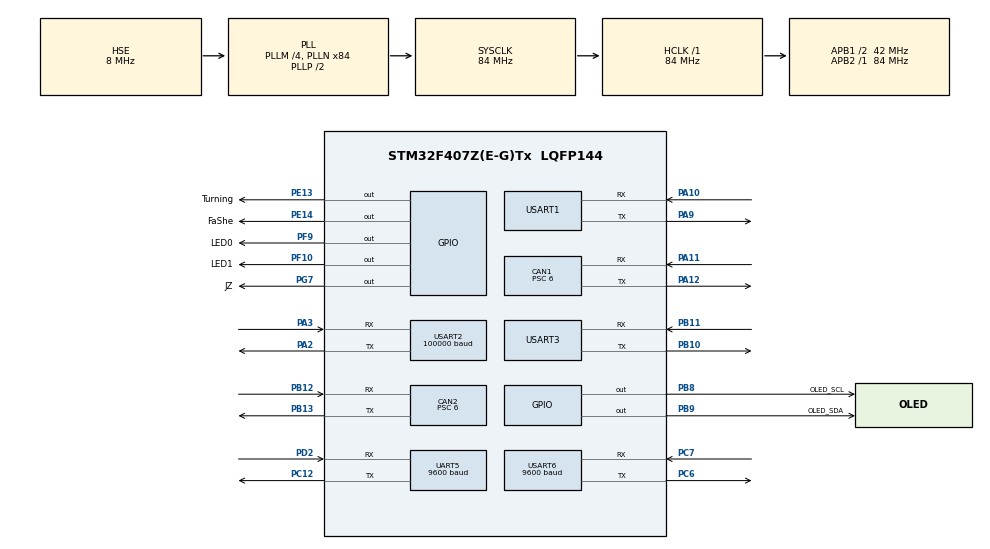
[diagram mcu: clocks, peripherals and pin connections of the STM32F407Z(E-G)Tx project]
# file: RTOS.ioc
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CAN1.ABOM=ENABLE
CAN1.BS1=CAN_BS1_2TQ
CAN1.BS2=CAN_BS2_4TQ
CAN1.CalculateBaudRate=1000000
CAN1.CalculateTimeBit=1000
CAN1.CalculateTimeQuantum=142.85714285714286
CAN1.Prescaler=6
CAN2.ABOM=ENABLE
CAN2.BS1=CAN_BS1_2TQ
CAN2.BS2=CAN_BS2_4TQ
CAN2.CalculateBaudRate=1000000
CAN2.CalculateTimeBit=1000
CAN2.CalculateTimeQuantum=142.85714285714286
CAN2.Prescaler=6
Dma.Request0=USART2_RX
Dma.Request1=USART3_RX
Dma.Request2=USART6_RX
Dma.Request3=UART5_RX
Dma.UART5_RX.3.Direction=DMA_PERIPH_TO_MEMORY
Dma.UART5_RX.3.FIFOMode=DMA_FIFOMODE_DISABLE
Dma.UART5_RX.3.Instance=DMA1_Stream0
Dma.UART5_RX.3.MemDataAlignment=DMA_MDATAALIGN_BYTE
Dma.UART5_RX.3.MemInc=DMA_MINC_ENABLE
Dma.UART5_RX.3.Mode=DMA_NORMAL
Dma.UART5_RX.3.PeriphDataAlignment=DMA_PDATAALIGN_BYTE
Dma.UART5_RX.3.PeriphInc=DMA_PINC_DISABLE
Dma.UART5_RX.3.Priority=DMA_PRIORITY_MEDIUM
Dma.USART2_RX.0.Direction=DMA_PERIPH_TO_MEMORY
Dma.USART2_RX.0.FIFOMode=DMA_FIFOMODE_DISABLE
Dma.USART2_RX.0.Instance=DMA1_Stream5
Dma.USART2_RX.0.MemDataAlignment=DMA_MDATAALIGN_BYTE
Dma.USART2_RX.0.MemInc=DMA_MINC_ENABLE
Dma.USART2_RX.0.Mode=DMA_NORMAL
Dma.USART2_RX.0.PeriphDataAlignment=DMA_PDATAALIGN_BYTE
Dma.USART2_RX.0.PeriphInc=DMA_PINC_DISABLE
Dma.USART2_RX.0.Priority=DMA_PRIORITY_VERY_HIGH
Dma.USART3_RX.1.Direction=DMA_PERIPH_TO_MEMORY
Dma.USART3_RX.1.FIFOMode=DMA_FIFOMODE_DISABLE
Dma.USART3_RX.1.Instance=DMA1_Stream1
Dma.USART3_RX.1.MemDataAlignment=DMA_MDATAALIGN_BYTE
Dma.USART3_RX.1.MemInc=DMA_MINC_ENABLE
Dma.USART3_RX.1.Mode=DMA_NORMAL
Dma.USART3_RX.1.PeriphDataAlignment=DMA_PDATAALIGN_BYTE
Dma.USART3_RX.1.PeriphInc=DMA_PINC_DISABLE
Dma.USART3_RX.1.Priority=DMA_PRIORITY_MEDIUM
Dma.USART6_RX.2.Direction=DMA_PERIPH_TO_MEMORY
Dma.USART6_RX.2.FIFOMode=DMA_FIFOMODE_DISABLE
Dma.USART6_RX.2.Instance=DMA2_Stream1
Dma.USART6_RX.2.MemDataAlignment=DMA_MDATAALIGN_BYTE
Dma.USART6_RX.2.MemInc=DMA_MINC_ENABLE
Dma.USART6_RX.2.Mode=DMA_NORMAL
Dma.USART6_RX.2.PeriphDataAlignment=DMA_PDATAALIGN_BYTE
Dma.USART6_RX.2.PeriphInc=DMA_PINC_DISABLE
Dma.USART6_RX.2.Priority=DMA_PRIORITY_MEDIUM
FREERTOS.Tasks01=POS,24,128,Pos_move,Default,NULL,Dynamic,NULL,NULL;KEY,8,128,KEY_CHeck,Default,NULL,Dynamic,NULL,NULL;OLED,8,128,OLED_show,Default,NULL,Dynamic,NULL,NULL;Clamp,8,128,ClampTheBall,Default,NULL,Dynamic,NULL,NULL
Mcu.Family=STM32F4
Mcu.Name=STM32F407Z(E-G)Tx
Mcu.Package=LQFP144
NVIC.CAN1_RX0_IRQn=true\:1\:0\:true\:false\:true\:false\:true\:true\:true
NVIC.CAN2_RX0_IRQn=true\:1\:0\:true\:false\:true\:false\:true\:true\:true
NVIC.DMA1_Stream0_IRQn=true\:5\:0\:false\:false\:true\:false\:false\:true\:true
NVIC.DMA1_Stream1_IRQn=true\:5\:0\:false\:false\:true\:false\:false\:true\:true
NVIC.DMA1_Stream5_IRQn=true\:5\:0\:false\:false\:true\:false\:false\:true\:true
NVIC.DMA2_Stream1_IRQn=true\:5\:0\:false\:false\:true\:false\:false\:true\:true
NVIC.PriorityGroup=NVIC_PRIORITYGROUP_4
NVIC.TIM1_BRK_TIM9_IRQn=true\:0\:0\:true\:false\:true\:false\:true\:true\:true
NVIC.TIM1_UP_TIM10_IRQn=true\:15\:0\:false\:false\:true\:false\:false\:true\:true
NVIC.TimeBase=TIM1_UP_TIM10_IRQn
NVIC.TimeBaseIP=TIM1
NVIC.UART5_IRQn=true\:2\:0\:true\:false\:true\:false\:true\:true\:true
NVIC.USART2_IRQn=true\:1\:0\:true\:false\:true\:false\:true\:true\:true
NVIC.USART3_IRQn=true\:1\:0\:true\:false\:true\:false\:true\:true\:true
NVIC.USART6_IRQn=true\:2\:0\:true\:false\:true\:false\:true\:true\:true
PA10.Mode=Asynchronous
PA10.Signal=USART1_RX
PA11.Mode=CAN_Activate
PA11.Signal=CAN1_RX
PA12.Mode=CAN_Activate
PA12.Signal=CAN1_TX
PA13.Mode=Serial_Wire
PA13.Signal=SYS_JTMS-SWDIO
PA14.Mode=Serial_Wire
PA14.Signal=SYS_JTCK-SWCLK
PA2.Mode=Asynchronous
PA2.Signal=USART2_TX
PA3.Mode=Asynchronous
PA3.Signal=USART2_RX
PA9.Mode=Asynchronous
PA9.Signal=USART1_TX
PB10.Mode=Asynchronous
PB10.Signal=USART3_TX
PB11.Mode=Asynchronous
PB11.Signal=USART3_RX
PB12.Mode=CAN_Activate
PB12.Signal=CAN2_RX
PB13.Mode=CAN_Activate
PB13.Signal=CAN2_TX
PB8.GPIO_Label=OLED_SCL
PB8.Signal=GPIO_Output
PB9.GPIO_Label=OLED_SDA
PB9.Signal=GPIO_Output
PC12.Mode=Asynchronous
PC12.Signal=UART5_TX
PC6.Mode=Asynchronous
PC6.Signal=USART6_TX
PC7.Mode=Asynchronous
PC7.Signal=USART6_RX
PD2.Mode=Asynchronous
PD2.Signal=UART5_RX
PE13.GPIO_Label=Turning
PE13.Signal=GPIO_Output
PE14.GPIO_Label=FaShe
PE14.Signal=GPIO_Output
PF10.GPIO_Label=LED1
PF10.Signal=GPIO_Output
PF9.GPIO_Label=LED0
PF9.Signal=GPIO_Output
PG7.GPIO_Label=JZ
PG7.Signal=GPIO_Output
PH0-OSC_IN.Mode=HSE-External-Oscillator
PH0-OSC_IN.Signal=RCC_OSC_IN
PH1-OSC_OUT.Mode=HSE-External-Oscillator
PH1-OSC_OUT.Signal=RCC_OSC_OUT
ProjectManager.HeapSize=0x200
ProjectManager.StackSize=0x400
ProjectManager.TargetToolchain=MDK-ARM V5.32
RCC.48MHZClocksFreq_Value=42000000
RCC.AHBFreq_Value=84000000
RCC.APB1CLKDivider=RCC_HCLK_DIV2
RCC.APB1Freq_Value=42000000
RCC.APB1TimFreq_Value=84000000
RCC.APB2Freq_Value=84000000
RCC.APB2TimFreq_Value=84000000
RCC.CortexFreq_Value=84000000
RCC.HCLKFreq_Value=84000000
RCC.HSE_VALUE=8000000
RCC.HSI_VALUE=16000000
RCC.LSE_VALUE=32768
RCC.PLLM=4
RCC.PLLN=84
RCC.PLLSourceVirtual=RCC_PLLSOURCE_HSE
RCC.SYSCLKFreq_VALUE=84000000
RCC.SYSCLKSource=RCC_SYSCLKSOURCE_PLLCLK
RCC.VCOOutputFreq_Value=168000000
TIM9.Period=5000-1
TIM9.Prescaler=84-1
UART5.BaudRate=9600
UART5.VirtualMode=Asynchronous
USART1.VirtualMode=VM_ASYNC
USART2.BaudRate=100000
USART2.Parity=PARITY_EVEN
USART2.StopBits=STOPBITS_2
USART2.VirtualMode=VM_ASYNC
USART2.WordLength=WORDLENGTH_9B
USART3.VirtualMode=VM_ASYNC
USART6.BaudRate=9600
USART6.VirtualMode=VM_ASYNC
VP_FREERTOS_VS_CMSIS_V2.Mode=CMSIS_V2
VP_SYS_VS_tim1.Mode=TIM1
VP_TIM9_VS_ClockSourceINT.Mode=Internal
board=custom

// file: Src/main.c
/* USER CODE BEGIN Header */
/**
  ******************************************************************************
  * @file           : main.c
  * @brief          : Main program body
  ******************************************************************************
  * @attention
  *
  * <h2><center>&copy; Copyright (c) 2022 STMicroelectronics.
  * All rights reserved.</center></h2>
  *
  * This software component is licensed by ST under Ultimate Liberty license
  * SLA0044, the "License"; You may not use this file except in compliance with
  * the License. You may obtain a copy of the License at:
  *                             www.st.com/SLA0044
  *
  ******************************************************************************
  */
/* USER CODE END Header */
#include "main.h"
#include "cmsis_os.h"
#include "can.h"
#include "dma.h"
#include "tim.h"
#include "usart.h"
#include "gpio.h"

/* USER CODE BEGIN Includes */

#include "all.h"

/* USER CODE END Includes */

/* USER CODE BEGIN PM */
#define  Motor hcan1
#define  Launch hcan2
#define  SBUS_usart2 huart2
#define  action_usart3 huart3
#define  JGx_uart5 huart5
#define  JGy_usart6 huart6

u8 SBUS_rxbuff[sbus_data_length];//存放SBUS数据（DMA）
u8 action_rxbuff[action_data_length];//存放码盘数据（DMA）
u8 JG_X_rxbuff[JG_data_length];//存放激光数据（DMA）
u8 JG_Y_rxbuff[JG_data_length];//存放激光数据（DMA）

u32 JG_pos_x,JG_pos_y;//
char str[20]={0};//OLED显示数组

/* USER CODE END PM */

void SystemClock_Config(void);
void MX_FREERTOS_Init(void);

int main(void)
{

  /* MCU Configuration--------------------------------------------------------*/

  /* Reset of all peripherals, Initializes the Flash interface and the Systick. */
  HAL_Init();

  /* Configure the system clock */
  SystemClock_Config();

  /* Initialize all configured peripherals */
  MX_GPIO_Init();
  MX_USART1_UART_Init();
  MX_DMA_Init();
  MX_TIM9_Init();
  MX_USART2_UART_Init();
  MX_USART3_UART_Init();
  MX_USART6_UART_Init();
  MX_UART5_Init();
  MX_CAN1_Init();
  MX_CAN2_Init();
  /* USER CODE BEGIN 2 */
	OLED_Init();
	OLED_Clear();

	__HAL_UART_ENABLE_IT(&action_usart3,UART_IT_IDLE);//码盘接收开启 huart3
	HAL_UART_Receive_DMA(&action_usart3,action_rxbuff,action_data_length);

	__HAL_UART_ENABLE_IT(&JGx_uart5,UART_IT_IDLE);//激光_X接收开启 huart5
	HAL_UART_Receive_DMA(&JGx_uart5,JG_X_rxbuff,JG_data_length);

	__HAL_UART_ENABLE_IT(&JGy_usart6,UART_IT_IDLE);//激光_Y接收开启 huart6
	HAL_UART_Receive_DMA(&JGy_usart6,JG_Y_rxbuff,JG_data_length);

	__HAL_UART_ENABLE_IT(&SBUS_usart2,UART_IT_IDLE);//SBUS接收开启 huart2
	HAL_UART_Receive_DMA(&SBUS_usart2,SBUS_rxbuff,sbus_data_length);

	CAN_Filter_Config(&Motor,1);//CAN1底盘
	HAL_CAN_Start(&Motor);
	HAL_CAN_ActivateNotification(&Motor, CAN_IT_RX_FIFO0_MSG_PENDING);

	CAN_Filter_Config(&Launch,1);//CAN2发射
	HAL_CAN_Start(&Launch);
	HAL_CAN_ActivateNotification(&Launch, CAN_IT_RX_FIFO0_MSG_PENDING);

//////	JG_Command_SET(&huart5);
//////	JG_Command_SET(&huart6);

	ALL_PID_Init();
	LED0=1;
	LED1=1;
	HAL_TIM_Base_Start_IT(&htim9);//开启定时器中断

  /* USER CODE END 2 */

  /* Init scheduler */
  osKernelInitialize();  /* Call init function for freertos objects (in freertos.c) */
  MX_FREERTOS_Init();

  /* Start scheduler */
  osKernelStart();

  /* We should never get here as control is now taken by the scheduler */
  /* Infinite loop */
  while (1)
  {

  }
}

void SystemClock_Config(void)
{
  RCC_OscInitTypeDef RCC_OscInitStruct = {0};
  RCC_ClkInitTypeDef RCC_ClkInitStruct = {0};

  /** Configure the main internal regulator output voltage
  */
  __HAL_RCC_PWR_CLK_ENABLE();
  __HAL_PWR_VOLTAGESCALING_CONFIG(PWR_REGULATOR_VOLTAGE_SCALE1);

  /** Initializes the RCC Oscillators according to the specified parameters
  * in the RCC_OscInitTypeDef structure.
  */
  RCC_OscInitStruct.OscillatorType = RCC_OSCILLATORTYPE_HSE;
  RCC_OscInitStruct.HSEState = RCC_HSE_ON;
  RCC_OscInitStruct.PLL.PLLState = RCC_PLL_ON;
  RCC_OscInitStruct.PLL.PLLSource = RCC_PLLSOURCE_HSE;
  RCC_OscInitStruct.PLL.PLLM = 4;
  RCC_OscInitStruct.PLL.PLLN = 84;
  RCC_OscInitStruct.PLL.PLLP = RCC_PLLP_DIV2;
  RCC_OscInitStruct.PLL.PLLQ = 4;
  if (HAL_RCC_OscConfig(&RCC_OscInitStruct) != HAL_OK)
  {
    Error_Handler();
  }

  /** Initializes the CPU, AHB and APB buses clocks
  */
  RCC_ClkInitStruct.ClockType = RCC_CLOCKTYPE_HCLK|RCC_CLOCKTYPE_SYSCLK
                              |RCC_CLOCKTYPE_PCLK1|RCC_CLOCKTYPE_PCLK2;
  RCC_ClkInitStruct.SYSCLKSource = RCC_SYSCLKSOURCE_PLLCLK;
  RCC_ClkInitStruct.AHBCLKDivider = RCC_SYSCLK_DIV1;
  RCC_ClkInitStruct.APB1CLKDivider = RCC_HCLK_DIV2;
  RCC_ClkInitStruct.APB2CLKDivider = RCC_HCLK_DIV1;

  if (HAL_RCC_ClockConfig(&RCC_ClkInitStruct, FLASH_LATENCY_2) != HAL_OK)
  {
    Error_Handler();
  }
}

void HAL_TIM_PeriodElapsedCallback(TIM_HandleTypeDef *htim)
{
  if (htim->Instance == TIM1) {
    HAL_IncTick();
  }
  /* USER CODE BEGIN Callback 1 */
	if(htim == &htim9)
		{

			Speed_Update();

			HAL_TIM_Base_Start_IT(&htim9);//开启定时器中断
		}
  /* USER CODE END Callback 1 */
}

void Error_Handler(void)
{
  __disable_irq();
  while (1)
  {
  }
}

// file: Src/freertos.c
/* USER CODE BEGIN Header */
/**
  ******************************************************************************
  * File Name          : freertos.c
  * Description        : Code for freertos applications
  ******************************************************************************
  * @attention
  *
  * <h2><center>&copy; Copyright (c) 2022 STMicroelectronics.
  * All rights reserved.</center></h2>
  *
  * This software component is licensed by ST under Ultimate Liberty license
  * SLA0044, the "License"; You may not use this file except in compliance with
  * the License. You may obtain a copy of the License at:
  *                             www.st.com/SLA0044
  *
  ******************************************************************************
  */
/* USER CODE END Header */

#include "FreeRTOS.h"
#include "task.h"
#include "main.h"
#include "cmsis_os.h"

/* USER CODE BEGIN Includes */
#include "all.h"
#include "usart.h"
extern int ABS_angle;
extern bool MODE;
extern int initial_angle;
float Pos_1[2]={1661.61,1700};//位置一   取红球
float Pos_2[2]={1800.61,1700};//位置二   发射红球
float Pos_3[2]={-1841.61,1621.61};//位置二  取蓝1球

u8 key_val;
int speed;

/* USER CODE END Includes */

/* Definitions for POS */
osThreadId_t POSHandle;
const osThreadAttr_t POS_attributes = {
  .name = "POS",
  .stack_size = 128 * 4,
  .priority = (osPriority_t) osPriorityNormal,
};
/* Definitions for KEY */
osThreadId_t KEYHandle;
const osThreadAttr_t KEY_attributes = {
  .name = "KEY",
  .stack_size = 128 * 4,
  .priority = (osPriority_t) osPriorityLow,
};
/* Definitions for OLED */
osThreadId_t OLEDHandle;
const osThreadAttr_t OLED_attributes = {
  .name = "OLED",
  .stack_size = 128 * 4,
  .priority = (osPriority_t) osPriorityLow,
};
/* Definitions for Clamp */
osThreadId_t ClampHandle;
const osThreadAttr_t Clamp_attributes = {
  .name = "Clamp",
  .stack_size = 128 * 4,
  .priority = (osPriority_t) osPriorityLow,
};

void Pos_move(void *argument);
void KEY_CHeck(void *argument);
void OLED_show(void *argument);
void ClampTheBall(void *argument);

void MX_FREERTOS_Init(void); /* (MISRA C 2004 rule 8.1) */

void MX_FREERTOS_Init(void) {

  /* Create the thread(s) */
  /* creation of POS */
  POSHandle = osThreadNew(Pos_move, NULL, &POS_attributes);

  /* creation of KEY */
  KEYHandle = osThreadNew(KEY_CHeck, NULL, &KEY_attributes);

  /* creation of OLED */
  OLEDHandle = osThreadNew(OLED_show, NULL, &OLED_attributes);

  /* creation of Clamp */
  ClampHandle = osThreadNew(ClampTheBall, NULL, &Clamp_attributes);

  /* USER CODE BEGIN RTOS_EVENTS */
  /* add events, ... */
	vTaskSuspend(POSHandle);//挂起该任务
	vTaskSuspend(ClampHandle);//挂起该任务

  /* USER CODE END RTOS_EVENTS */

}

void Pos_move(void *argument)
{
  /* USER CODE BEGIN Pos_move */
  /* Infinite loop */
  for(;;)
  {
		LED1=0;
//		Goal_Angel = ANGEL_30;
//		launch_Exp1 = launch_Speed1;
//		launch_Exp2 = launch_Speed2;
		while(ABS(action_inf.angle_z-ANGEL_30)>1)printf("The angle in progress\r\n");
		while(ABS(launch_inf[0].speed)<launch_Speed1)printf("The launch_Exp1 is accelerating\r\n");
		while(ABS(launch_inf[4].speed)<launch_Speed2)printf("The launch_Exp2 is accelerating\r\n");
		HAL_Delay(500);
		FaShe = 1;
		HAL_Delay(500);HAL_Delay(500);
		launch_Exp1 = 0;
		launch_Exp2 = 0;
		FaShe = 0;
		Goal_Angel = ANGEL_90;
		Goal_pos_X = Pos_1[0];
		Goal_pos_Y = Pos_1[1];
;		while(ABS(action_inf.angle_z-ANGEL_90)>2)printf("The angle in progress. \r\n");
		while(ABS(action_inf.pos_x-Pos_1[0])>50)printf("The pos_x in progress. pos_x=%.2f\r\n",action_inf.pos_x);
		while(ABS(action_inf.pos_y-Pos_1[1])>50)printf("The pos_y in progress. pos_y=%.2f\r\n",action_inf.pos_y);
		JZ = 1;
		Goal_JZ = initial_angle;
		HAL_Delay(500);HAL_Delay(500);
		JZ = 0;
		HAL_Delay(500);HAL_Delay(500);
		Goal_JZ = initial_angle-500000;
		HAL_Delay(500);HAL_Delay(500);
		Turning = 1;
		HAL_Delay(500);HAL_Delay(500);HAL_Delay(500);
		JZ = 1;
		HAL_Delay(500);
		Turning = 0;
		JZ = 0;
		Goal_pos_X = Pos_2[0];
		launch_Exp1 = launch_Speed1;
		launch_Exp2 = launch_Speed2;
		while(ABS(action_inf.pos_x-Pos_2[0])>100)printf("The pos_x in progress. pos_x=%.2f\r\t",action_inf.pos_x);
		while(ABS(launch_inf[0].speed)<launch_Speed1)printf("The launch_Exp1 is accelerating\r\n");
		while(ABS(launch_inf[4].speed)<launch_Speed2)printf("The launch_Exp2 is accelerating\r\n");
		HAL_Delay(500);
		FaShe = 1;
		HAL_Delay(500);HAL_Delay(500);

		launch_Exp1 = 0;
		launch_Exp2 = 0;
		FaShe = 0;

		Goal_pos_Y = -300;
		while(ABS(action_inf.pos_y+300)>500)printf("The pos_y in progress. pos_y=%.2f\r\t",action_inf.pos_y+300);

		Goal_pos_X = Pos_3[0];
		while(ABS(action_inf.pos_x-Pos_3[0])>100)printf("The pos_x in progress. pos_x=%.2f\r\t",action_inf.pos_x);

		Goal_pos_Y = Pos_3[1];
		while(ABS(action_inf.pos_y-Pos_3[1])>100)printf("The pos_y in progress. pos_y=%.2f\r\t",action_inf.pos_y-Pos_3[1]);

		JZ = 1;
		Goal_JZ = initial_angle;
		HAL_Delay(500);HAL_Delay(500);
		JZ = 0;
		HAL_Delay(500);HAL_Delay(500);
		Goal_JZ = initial_angle-500000;
		HAL_Delay(500);HAL_Delay(500);
		Turning = 1;
		HAL_Delay(500);HAL_Delay(500);HAL_Delay(500);
		JZ = 1;
		HAL_Delay(500);
		Turning = 0;
		JZ = 0;

		Goal_Angel = 0;
		Goal_pos_X = 0;
		Goal_pos_Y = 0;

		osDelay(1);
		vTaskSuspend(POSHandle);

//		LED1=!LED1;

  }
  /* USER CODE END Pos_move */
}

void KEY_CHeck(void *argument)
{
  /* USER CODE BEGIN KEY_CHeck */
  /* Infinite loop */
  for(;;)
  {
		if(MODE==0)
		{
			key_val=Sbus_key(0);
			if(key_val==1)vTaskResume(POSHandle);
			else if(key_val==2)vTaskResume(ClampHandle);
			else{}
//			speed_sen/d_data(0,motor_inf[0].speed,Motor[0].Exp);
		}
    osDelay(1);
  }
  /* USER CODE END KEY_CHeck */
}

void OLED_show(void *argument)
{
  /* USER CODE BEGIN OLED_show */
  /* Infinite loop */

  for(;;)
  {

		sprintf(str,"JG:%d %d ",JG_pos_x,JG_pos_y);
		OLED_ShowString(0,0, (uint8_t*)str,16);
		sprintf(str,"%.2f %.2f ",action_inf.pos_x,action_inf.pos_y);
		OLED_ShowString(0,2, (uint8_t*)str,16);
		sprintf(str,"%.2f ",action_inf.angle_z);
		OLED_ShowString(0,4, (uint8_t*)str,16);
		sprintf(str,"%06d",SpeedExp);
		OLED_ShowString(0,6, (uint8_t*)str,16);

    printf("%.2f\r\t%.2f\r\t%.2f\r\t%d\r\n",action_inf.pos_x,action_inf.pos_y,action_inf.angle_z,SBusRemote.Channel[1]);
//		printf("%d\r\t%d\r\t%d\r\t%d\r\t%d\r\n",SBusRemote.Channel[5],SBusRemote.Channel[0],SBusRemote.Channel[1],SBusRemote.Channel[2],SBusRemote.Channel[3]);

//		printf("%d\r\t%d\r\t%d\r\t%d\r\t",launch_inf[0].speed,launch_inf[1].speed,launch_inf[2].speed,launch_inf[3].speed);
//		printf("%d\r\t%d\r\t%d\r\t%d\r\n",launch_inf[4].speed,launch_inf[5].speed,launch_inf[6].speed,launch_inf[7].speed);

//		printf("%d\r\t%d\r\t%d\r\t%d\r\n",motor_inf[3].angle,ABS_angle,(int)JZ_RealAngle.Exp,(int)(JZ_RealAngle.Exp-ABS_angle));
//		printf("%d\r\t%d\r\t%d\r\t",(int)Motor[0].Exp,(int)Motor[1].Exp,(int)Motor[2].Exp);
//		printf("%d\r\t%d\r\t%d\r\t",motor_cur[0].cur,motor_cur[1].cur,motor_cur[2].cur);

		LED0=!LED0;

		osDelay(50);

  }
  /* USER CODE END OLED_show */
}

void ClampTheBall(void *argument)
{
  /* USER CODE BEGIN ClampTheBall */
  /* Infinite loop */
  for(;;)
  {
		Goal_Angel = ANGEL_30;
		launch_Exp1 = launch_Speed1;
		launch_Exp2 = launch_Speed2;
		while(ABS(action_inf.angle_z-ANGEL_30)>1.0f)printf("The angle in progress. angle=%.2f\r\n",action_inf.angle_z);
		while(ABS(launch_inf[0].speed)<launch_Speed1)printf("The launch_Exp1 is accelerating. \r\n");
		while(ABS(launch_inf[4].speed)<launch_Speed2)printf("The launch_Exp2 is accelerating. \r\n");

		vTaskSuspend(ClampHandle);
  }
  /* USER CODE END ClampTheBall */
}
